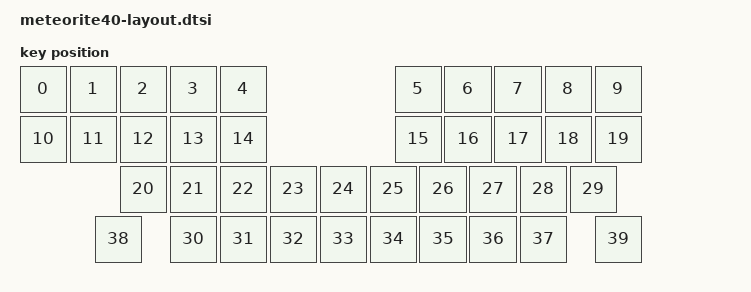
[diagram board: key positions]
#include <physical_layouts.dtsi>

/ {
    meteorite40_physical_layout: meteorite40_physical_layout {
        compatible = "zmk,physical-layout";
        display-name = "meteorite40";

        keys //                  w    h   x     y  rot rx ry 
            = 
            // 1段目 左5
            <&key_physical_attrs 100 100    0    0  0  0  0>,
            <&key_physical_attrs 100 100  100    0  0  0  0>,
            <&key_physical_attrs 100 100  200    0  0  0  0>,
            <&key_physical_attrs 100 100  300    0  0  0  0>,
            <&key_physical_attrs 100 100  400    0  0  0  0>,
            // 1段目 右5
            <&key_physical_attrs 100 100  750    0  0  0  0>,
            <&key_physical_attrs 100 100  850    0  0  0  0>,
            <&key_physical_attrs 100 100  950    0  0  0  0>,
            <&key_physical_attrs 100 100 1050    0  0  0  0>,
            <&key_physical_attrs 100 100 1150    0  0  0  0>,

            // 2段目 左5
            <&key_physical_attrs 100 100    0  100  0  0  0>,
            <&key_physical_attrs 100 100  100  100  0  0  0>,
            <&key_physical_attrs 100 100  200  100  0  0  0>,
            <&key_physical_attrs 100 100  300  100  0  0  0>,
            <&key_physical_attrs 100 100  400  100  0  0  0>,
            // 2段目 右5
            <&key_physical_attrs 100 100  750  100  0  0  0>,
            <&key_physical_attrs 100 100  850  100  0  0  0>,
            <&key_physical_attrs 100 100  950  100  0  0  0>,
            <&key_physical_attrs 100 100 1050  100  0  0  0>,
            <&key_physical_attrs 100 100 1150  100  0  0  0>,

            // 3段目 中央10
            <&key_physical_attrs 100 100  200  200  0  0  0>,
            <&key_physical_attrs 100 100  300  200  0  0  0>,
            <&key_physical_attrs 100 100  400  200  0  0  0>,
            <&key_physical_attrs 100 100  500  200  0  0  0>,
            <&key_physical_attrs 100 100  600  200  0  0  0>,
            <&key_physical_attrs 100 100  700  200  0  0  0>,
            <&key_physical_attrs 100 100  800  200  0  0  0>,
            <&key_physical_attrs 100 100  900  200  0  0  0>,
            <&key_physical_attrs 100 100 1000  200  0  0  0>,
            <&key_physical_attrs 100 100 1100  200  0  0  0>,

            // 4段目（中央8キー）
            <&key_physical_attrs 100 100  300  300  0  0  0>,
            <&key_physical_attrs 100 100  400  300  0  0  0>,
            <&key_physical_attrs 100 100  500  300  0  0  0>,
            <&key_physical_attrs 100 100  600  300  0  0  0>,
            <&key_physical_attrs 100 100  700  300  0  0  0>,
            <&key_physical_attrs 100 100  800  300  0  0  0>,
            <&key_physical_attrs 100 100  900  300  0  0  0>,
            <&key_physical_attrs 100 100 1000  300  0  0  0>,

            // オプション：エンコーダー or キー（左端）
            <&key_physical_attrs 100 100  150  300  0  0  0>,

            // オプション：エンコーダー or キー（右端）
            <&key_physical_attrs 100 100 1150  300  0  0  0>,
        ;
    };
};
